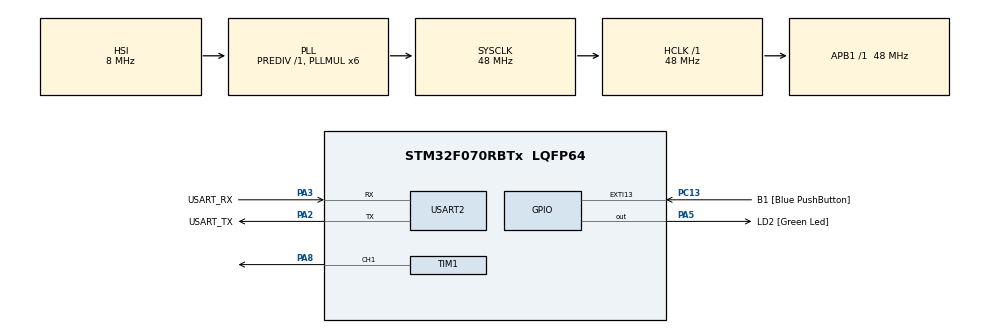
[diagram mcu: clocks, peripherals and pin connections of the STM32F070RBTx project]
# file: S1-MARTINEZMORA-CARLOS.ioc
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Mcu.Family=STM32F0
Mcu.Name=STM32F070RBTx
Mcu.Package=LQFP64
NVIC.EXTI4_15_IRQn=true\:0\:0\:false\:false\:true\:true\:true\:true
NVIC.TIM3_IRQn=true\:0\:0\:false\:false\:true\:true\:true\:true
PA13.GPIO_Label=TMS
PA13.Mode=Serial_Wire
PA13.Signal=SYS_SWDIO
PA14.GPIO_Label=TCK
PA14.Mode=Serial_Wire
PA14.Signal=SYS_SWCLK
PA2.GPIO_Label=USART_TX
PA2.Mode=Asynchronous
PA2.Signal=USART2_TX
PA3.GPIO_Label=USART_RX
PA3.Mode=Asynchronous
PA3.Signal=USART2_RX
PA5.GPIO_Label=LD2 [Green Led]
PA5.Signal=GPIO_Output
PA8.Signal=S_TIM1_CH1
PC13.GPIO_Label=B1 [Blue PushButton]
PC13.GPIO_ModeDefaultEXTI=GPIO_MODE_IT_FALLING
PC13.Signal=GPXTI13
PC14-OSC32_IN.GPIO_Label=RCC_OSC32_IN
PC14-OSC32_IN.Mode=LSE-External-Oscillator
PC14-OSC32_IN.Signal=RCC_OSC32_IN
PC15-OSC32_OUT.GPIO_Label=RCC_OSC32_OUT
PC15-OSC32_OUT.Mode=LSE-External-Oscillator
PC15-OSC32_OUT.Signal=RCC_OSC32_OUT
PF0-OSC_IN.GPIO_Label=RCC_OSC_IN
PF0-OSC_IN.Mode=HSE-External-Clock-Source
PF0-OSC_IN.Signal=RCC_OSC_IN
PF1-OSC_OUT.GPIO_Label=RCC_OSC_OUT
PF1-OSC_OUT.Signal=RCC_OSC_OUT
ProjectManager.HeapSize=0x200
ProjectManager.StackSize=0x400
ProjectManager.TargetToolchain=STM32CubeIDE
RCC.AHBFreq_Value=48000000
RCC.APB1Freq_Value=48000000
RCC.APB1TimFreq_Value=48000000
RCC.HCLKFreq_Value=48000000
RCC.PLLMUL=RCC_PLL_MUL6
RCC.SYSCLKFreq_VALUE=48000000
RCC.SYSCLKSource=RCC_SYSCLKSOURCE_PLLCLK
SH.S_TIM1_CH1.0=TIM1_CH1,PWM Generation1 CH1
TIM1.Channel-PWM\ Generation1\ CH1=TIM_CHANNEL_1
TIM1.Period=2000
TIM1.Prescaler=480
TIM3.Period=5000
TIM3.Prescaler=480
USART2.VirtualMode-Asynchronous=VM_ASYNC
VP_TIM1_VS_ClockSourceINT.Mode=Internal
VP_TIM3_VS_ClockSourceINT.Mode=Internal
board=NUCLEO-F070RB

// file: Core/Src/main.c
/* USER CODE BEGIN Header */
/**
 ******************************************************************************
 * @file           : main.c
 * @brief          : Main program body
 ******************************************************************************
 * @attention
 *
 *
 *                                       STM32F070RB
 *                                    -----------------
 *                               /|\ |                 |
 *                                |  |                 |
 *                                ---|RST              |
 *                                   |                 |
 *                                   |                 |
 *                                   |                 |
 *                  +-|10k|---|LED| -|PA8              |
 *                  |                |                 |
 *                 \|/
 *                 GND
 *
 * Octubre 2022
 * C. Martinez <carmarmor5@alum.us.es>
 *
 * Copyright (c) 2022 STMicroelectronics.
 * All rights reserved.
 *
 * This software is licensed under terms that can be found in the LICENSE file
 * in the root directory of this software component.
 * If no LICENSE file comes with this software, it is provided AS-IS.
 *
 ******************************************************************************
 */
/* USER CODE END Header */
#include "main.h"

/* USER CODE BEGIN Includes */
#include <stdbool.h>

/* USER CODE END Includes */

TIM_HandleTypeDef htim1;
TIM_HandleTypeDef htim3;

UART_HandleTypeDef huart2;

/* USER CODE BEGIN PV */
enum patrones {
	patron_1, patron_2, patron_3
};

enum patrones patron_activo;
static bool primera_vez = true;
static bool contando = false;
static int Duty_Cycle = 0;
static int parpadeo = 0;
static bool up = true;
static bool PWM_On = true;

/* USER CODE END PV */

void SystemClock_Config(void);
static void MX_GPIO_Init(void);
static void MX_USART2_UART_Init(void);
static void MX_TIM1_Init(void);
static void MX_TIM3_Init(void);

/* USER CODE BEGIN PFP */
static int debounce(GPIO_TypeDef *GPIOx, uint16_t GPIO_Pin);
static void PA8_Init();

/* USER CODE END PFP */

int main(void) {

	/* MCU Configuration--------------------------------------------------------*/

	/* Reset of all peripherals, Initializes the Flash interface and the Systick. */
	HAL_Init();

	/* Configure the system clock */
	SystemClock_Config();

	/* Initialize all configured peripherals */
	MX_GPIO_Init();
	MX_USART2_UART_Init();
	MX_TIM1_Init();
	MX_TIM3_Init();
	/* USER CODE BEGIN 2 */
	patron_activo = patron_1;
	static int i = 0;
	static int j = 0;

	/* USER CODE END 2 */

	/* Infinite loop */
	/* USER CODE BEGIN WHILE */
	while (1) {

//		HAL_GPIO_WritePin(GPIOA, GPIO_PIN_5, GPIO_PIN_SET);
//		HAL_GPIO_WritePin(GPIOA, GPIO_PIN_8, GPIO_PIN_SET);
//		HAL_Delay(2000);
//		HAL_GPIO_WritePin(GPIOA, GPIO_PIN_5, GPIO_PIN_RESET);
//		HAL_GPIO_WritePin(GPIOA, GPIO_PIN_8, GPIO_PIN_RESET);
//		HAL_Delay(1000);

//		if (!debounce(GPIOC, GPIO_PIN_13)) {
//			HAL_GPIO_WritePin(GPIOA, GPIO_PIN_5, GPIO_PIN_SET);
//			HAL_GPIO_WritePin(GPIOA, GPIO_PIN_8, GPIO_PIN_SET);
//		} else {
//			HAL_GPIO_WritePin(GPIOA, GPIO_PIN_5, GPIO_PIN_RESET);
//			HAL_GPIO_WritePin(GPIOA, GPIO_PIN_8, GPIO_PIN_RESET);
//		}

		if (patron_activo != patron_2 && PWM_On) {
			HAL_TIM_PWM_Stop(&htim1, TIM_CHANNEL_1);
			PA8_Init();
			PWM_On = false;
		}
		switch (patron_activo) {
		case patron_1: {
			if (primera_vez) {
				primera_vez = false;

				HAL_GPIO_WritePin(GPIOA, GPIO_PIN_5, GPIO_PIN_SET);
				HAL_Delay(250);
				HAL_GPIO_WritePin(GPIOA, GPIO_PIN_5, GPIO_PIN_RESET);\
				HAL_Delay(250);
			}

			if (i < 6 && j == 0) {
				i++;
				HAL_GPIO_TogglePin(GPIOA, GPIO_PIN_8);
				HAL_Delay(250);
			} else {
				i = 0;
			}
			if (j < 4 && i == 0) {
				j++;
				HAL_GPIO_TogglePin(GPIOA, GPIO_PIN_8);
				HAL_Delay(500);
			} else {
				j = 0;
			}

			break;

		}
		case patron_2: {
			if (primera_vez) {
				primera_vez = false;

				for (int i = 0; i < 4; i++) {
					HAL_GPIO_TogglePin(GPIOA, GPIO_PIN_5);
					HAL_Delay(250);
				}
				MX_TIM1_Init();
				HAL_TIM_PWM_Start(&htim1, TIM_CHANNEL_1);
				PWM_On = true;
			}

			if (Duty_Cycle < 2000 && up == true) {
				__HAL_TIM_SET_COMPARE(&htim1, TIM_CHANNEL_1, Duty_Cycle);
				Duty_Cycle += 10;
				HAL_Delay(3);
			} else {
				up = false;
			}

			if (Duty_Cycle > 0 && up == false) {
				__HAL_TIM_SET_COMPARE(&htim1, TIM_CHANNEL_1, Duty_Cycle);
				Duty_Cycle -= 10;
				HAL_Delay(3);
			} else {
				up = true;
			}

			break;

		}
		case patron_3: {
			if (primera_vez) {
				primera_vez = false;

				for (int i = 0; i < 6; i++) {
					HAL_GPIO_TogglePin(GPIOA, GPIO_PIN_5);
					HAL_Delay(250);
				}
			}

			if (parpadeo < 250 && up == true) {
				HAL_GPIO_TogglePin(GPIOA, GPIO_PIN_8);
				parpadeo += 10;
				HAL_Delay(parpadeo);
				HAL_GPIO_TogglePin(GPIOA, GPIO_PIN_8);
				HAL_Delay(parpadeo);
			} else {
				up = false;
			}

			if (parpadeo > 0 && up == false) {
				HAL_GPIO_TogglePin(GPIOA, GPIO_PIN_8);
				parpadeo -= 10;
				HAL_Delay(parpadeo);
				HAL_GPIO_TogglePin(GPIOA, GPIO_PIN_8);
				HAL_Delay(parpadeo);
			} else {
				up = true;
			}

			break;

		}
		default: {

			break;

		}
		}
		/* USER CODE END WHILE */

	}
}

void SystemClock_Config(void) {
	RCC_OscInitTypeDef RCC_OscInitStruct = { 0 };
	RCC_ClkInitTypeDef RCC_ClkInitStruct = { 0 };

	/** Initializes the RCC Oscillators according to the specified parameters
	 * in the RCC_OscInitTypeDef structure.
	 */
	RCC_OscInitStruct.OscillatorType = RCC_OSCILLATORTYPE_HSI;
	RCC_OscInitStruct.HSIState = RCC_HSI_ON;
	RCC_OscInitStruct.HSICalibrationValue = RCC_HSICALIBRATION_DEFAULT;
	RCC_OscInitStruct.PLL.PLLState = RCC_PLL_ON;
	RCC_OscInitStruct.PLL.PLLSource = RCC_PLLSOURCE_HSI;
	RCC_OscInitStruct.PLL.PLLMUL = RCC_PLL_MUL6;
	RCC_OscInitStruct.PLL.PREDIV = RCC_PREDIV_DIV1;
	if (HAL_RCC_OscConfig(&RCC_OscInitStruct) != HAL_OK) {
		Error_Handler();
	}

	/** Initializes the CPU, AHB and APB buses clocks
	 */
	RCC_ClkInitStruct.ClockType = RCC_CLOCKTYPE_HCLK | RCC_CLOCKTYPE_SYSCLK
			| RCC_CLOCKTYPE_PCLK1;
	RCC_ClkInitStruct.SYSCLKSource = RCC_SYSCLKSOURCE_PLLCLK;
	RCC_ClkInitStruct.AHBCLKDivider = RCC_SYSCLK_DIV1;
	RCC_ClkInitStruct.APB1CLKDivider = RCC_HCLK_DIV1;

	if (HAL_RCC_ClockConfig(&RCC_ClkInitStruct, FLASH_LATENCY_1) != HAL_OK) {
		Error_Handler();
	}
}

static void MX_TIM1_Init(void) {

	TIM_ClockConfigTypeDef sClockSourceConfig = { 0 };
	TIM_MasterConfigTypeDef sMasterConfig = { 0 };
	TIM_OC_InitTypeDef sConfigOC = { 0 };
	TIM_BreakDeadTimeConfigTypeDef sBreakDeadTimeConfig = { 0 };

	htim1.Instance = TIM1;
	htim1.Init.Prescaler = 480;
	htim1.Init.CounterMode = TIM_COUNTERMODE_UP;
	htim1.Init.Period = 2000;
	htim1.Init.ClockDivision = TIM_CLOCKDIVISION_DIV1;
	htim1.Init.RepetitionCounter = 0;
	htim1.Init.AutoReloadPreload = TIM_AUTORELOAD_PRELOAD_DISABLE;
	if (HAL_TIM_Base_Init(&htim1) != HAL_OK) {
		Error_Handler();
	}
	sClockSourceConfig.ClockSource = TIM_CLOCKSOURCE_INTERNAL;
	if (HAL_TIM_ConfigClockSource(&htim1, &sClockSourceConfig) != HAL_OK) {
		Error_Handler();
	}
	if (HAL_TIM_PWM_Init(&htim1) != HAL_OK) {
		Error_Handler();
	}
	sMasterConfig.MasterOutputTrigger = TIM_TRGO_RESET;
	sMasterConfig.MasterSlaveMode = TIM_MASTERSLAVEMODE_DISABLE;
	if (HAL_TIMEx_MasterConfigSynchronization(&htim1, &sMasterConfig)
			!= HAL_OK) {
		Error_Handler();
	}
	sConfigOC.OCMode = TIM_OCMODE_PWM1;
	sConfigOC.Pulse = 0;
	sConfigOC.OCPolarity = TIM_OCPOLARITY_HIGH;
	sConfigOC.OCNPolarity = TIM_OCNPOLARITY_HIGH;
	sConfigOC.OCFastMode = TIM_OCFAST_DISABLE;
	sConfigOC.OCIdleState = TIM_OCIDLESTATE_RESET;
	sConfigOC.OCNIdleState = TIM_OCNIDLESTATE_RESET;
	if (HAL_TIM_PWM_ConfigChannel(&htim1, &sConfigOC, TIM_CHANNEL_1)
			!= HAL_OK) {
		Error_Handler();
	}
	sBreakDeadTimeConfig.OffStateRunMode = TIM_OSSR_DISABLE;
	sBreakDeadTimeConfig.OffStateIDLEMode = TIM_OSSI_DISABLE;
	sBreakDeadTimeConfig.LockLevel = TIM_LOCKLEVEL_OFF;
	sBreakDeadTimeConfig.DeadTime = 0;
	sBreakDeadTimeConfig.BreakState = TIM_BREAK_DISABLE;
	sBreakDeadTimeConfig.BreakPolarity = TIM_BREAKPOLARITY_HIGH;
	sBreakDeadTimeConfig.AutomaticOutput = TIM_AUTOMATICOUTPUT_DISABLE;
	if (HAL_TIMEx_ConfigBreakDeadTime(&htim1, &sBreakDeadTimeConfig)
			!= HAL_OK) {
		Error_Handler();
	}
	HAL_TIM_MspPostInit(&htim1);

}

static void MX_TIM3_Init(void) {

	TIM_ClockConfigTypeDef sClockSourceConfig = { 0 };
	TIM_MasterConfigTypeDef sMasterConfig = { 0 };

	htim3.Instance = TIM3;
	htim3.Init.Prescaler = 480;
	htim3.Init.CounterMode = TIM_COUNTERMODE_UP;
	htim3.Init.Period = 5000;
	htim3.Init.ClockDivision = TIM_CLOCKDIVISION_DIV1;
	htim3.Init.AutoReloadPreload = TIM_AUTORELOAD_PRELOAD_DISABLE;
	if (HAL_TIM_Base_Init(&htim3) != HAL_OK) {
		Error_Handler();
	}
	sClockSourceConfig.ClockSource = TIM_CLOCKSOURCE_INTERNAL;
	if (HAL_TIM_ConfigClockSource(&htim3, &sClockSourceConfig) != HAL_OK) {
		Error_Handler();
	}
	sMasterConfig.MasterOutputTrigger = TIM_TRGO_RESET;
	sMasterConfig.MasterSlaveMode = TIM_MASTERSLAVEMODE_DISABLE;
	if (HAL_TIMEx_MasterConfigSynchronization(&htim3, &sMasterConfig)
			!= HAL_OK) {
		Error_Handler();
	}

}

static void MX_USART2_UART_Init(void) {

	huart2.Instance = USART2;
	huart2.Init.BaudRate = 38400;
	huart2.Init.WordLength = UART_WORDLENGTH_8B;
	huart2.Init.StopBits = UART_STOPBITS_1;
	huart2.Init.Parity = UART_PARITY_NONE;
	huart2.Init.Mode = UART_MODE_TX_RX;
	huart2.Init.HwFlowCtl = UART_HWCONTROL_NONE;
	huart2.Init.OverSampling = UART_OVERSAMPLING_16;
	huart2.Init.OneBitSampling = UART_ONE_BIT_SAMPLE_DISABLE;
	huart2.AdvancedInit.AdvFeatureInit = UART_ADVFEATURE_NO_INIT;
	if (HAL_UART_Init(&huart2) != HAL_OK) {
		Error_Handler();
	}

}

static void MX_GPIO_Init(void) {
	GPIO_InitTypeDef GPIO_InitStruct = { 0 };

	/* GPIO Ports Clock Enable */
	__HAL_RCC_GPIOC_CLK_ENABLE();
	__HAL_RCC_GPIOF_CLK_ENABLE();
	__HAL_RCC_GPIOA_CLK_ENABLE();

	/*Configure GPIO pin Output Level */
	HAL_GPIO_WritePin(LD2_GPIO_Port, LD2_Pin, GPIO_PIN_RESET);

	/*Configure GPIO pin : B1_Pin */
	GPIO_InitStruct.Pin = B1_Pin;
	GPIO_InitStruct.Mode = GPIO_MODE_IT_FALLING;
	GPIO_InitStruct.Pull = GPIO_NOPULL;
	HAL_GPIO_Init(B1_GPIO_Port, &GPIO_InitStruct);

	/*Configure GPIO pin : LD2_Pin */
	GPIO_InitStruct.Pin = LD2_Pin;
	GPIO_InitStruct.Mode = GPIO_MODE_OUTPUT_PP;
	GPIO_InitStruct.Pull = GPIO_NOPULL;
	GPIO_InitStruct.Speed = GPIO_SPEED_FREQ_LOW;
	HAL_GPIO_Init(LD2_GPIO_Port, &GPIO_InitStruct);

	/* EXTI interrupt init*/
	HAL_NVIC_SetPriority(EXTI4_15_IRQn, 0, 0);
	HAL_NVIC_EnableIRQ(EXTI4_15_IRQn);

}

/* USER CODE BEGIN 4 */

/*Configure GPIO pins : LD2_Pin PA8 */
static void PA8_Init() {
	GPIO_InitTypeDef GPIO_InitStruct = { 0 };

	GPIO_InitStruct.Pin = LD2_Pin | GPIO_PIN_8;
	GPIO_InitStruct.Mode = GPIO_MODE_OUTPUT_PP;
	GPIO_InitStruct.Pull = GPIO_NOPULL;
	GPIO_InitStruct.Speed = GPIO_SPEED_FREQ_LOW;
	HAL_GPIO_Init(GPIOA, &GPIO_InitStruct);
}

static int debounce(GPIO_TypeDef *GPIOx, uint16_t GPIO_Pin) {
	static uint16_t rebote = 0;

	rebote = (rebote << 1) | HAL_GPIO_ReadPin(GPIOx, GPIO_Pin) | 0xfe00;
	return (rebote <= 0xff00);
}

void HAL_GPIO_EXTI_Callback(uint16_t GPIO_Pin) {
	if (GPIO_Pin == GPIO_PIN_13 && contando == false) {
		HAL_TIM_Base_Start_IT(&htim3);
		contando = true;
	}
	__NOP();
}

void HAL_TIM_PeriodElapsedCallback(TIM_HandleTypeDef *htim) {
	if (HAL_GPIO_ReadPin(GPIOC, GPIO_PIN_13) == GPIO_PIN_RESET) {
		if (patron_activo == patron_3) {
			patron_activo = patron_1;
		} else {
			patron_activo = (patron_activo + 1);
		}
		contando = false;
		primera_vez = true;
		HAL_TIM_Base_Stop_IT(&htim3);
	}
}
/* USER CODE END 4 */

void Error_Handler(void) {
	__disable_irq();
	while (1) {
	}
}
